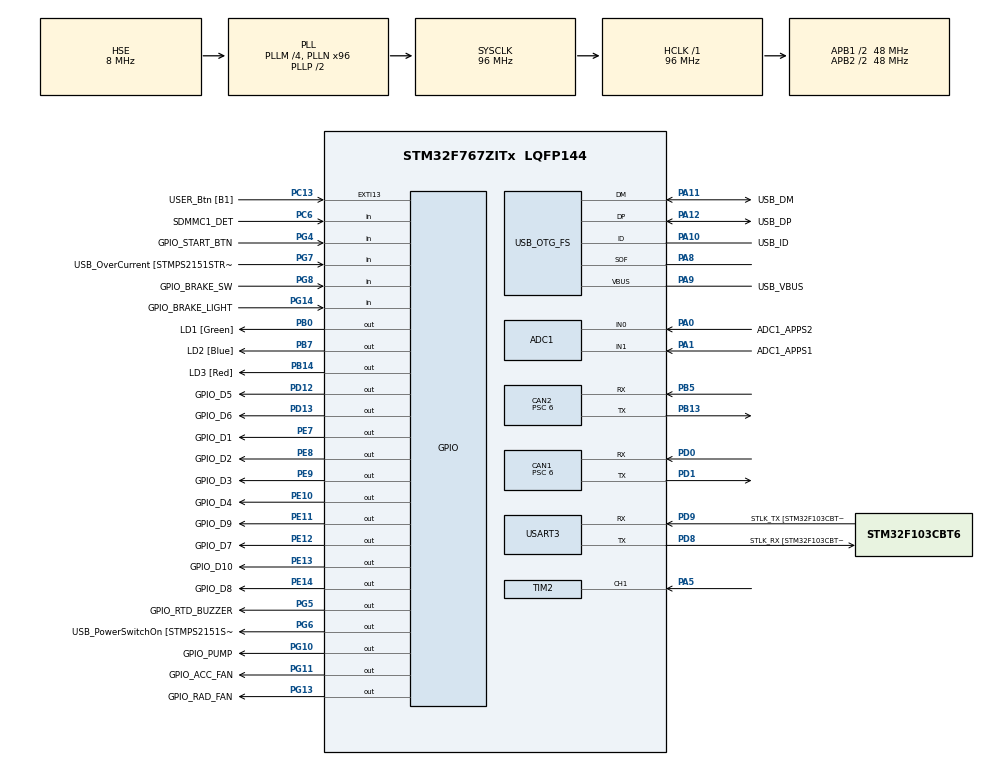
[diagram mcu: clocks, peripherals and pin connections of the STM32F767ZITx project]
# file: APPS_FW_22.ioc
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ADC1.Channel-4\#ChannelRegularConversion=ADC_CHANNEL_0
ADC1.Channel-5\#ChannelRegularConversion=ADC_CHANNEL_1
ADC1.ContinuousConvMode=ENABLE
ADC1.DMAContinuousRequests=ENABLE
ADC1.DiscontinuousConvMode=DISABLE
ADC1.EOCSelection=ADC_EOC_SEQ_CONV
ADC1.EnableAnalogWatchDog=false
ADC1.ExternalTrigConv=ADC_SOFTWARE_START
ADC1.InjNumberOfConversion=0
ADC1.NbrOfConversion=2
ADC1.NbrOfConversionFlag=1
ADC1.Rank-4\#ChannelRegularConversion=1
ADC1.Rank-5\#ChannelRegularConversion=2
ADC1.SamplingTime-4\#ChannelRegularConversion=ADC_SAMPLETIME_144CYCLES
ADC1.SamplingTime-5\#ChannelRegularConversion=ADC_SAMPLETIME_144CYCLES
ADC1.ScanConvMode=ADC_SCAN_ENABLE
ADC1.master=1
CAN1.BS1=CAN_BS1_13TQ
CAN1.BS2=CAN_BS2_2TQ
CAN1.CalculateBaudRate=500000
CAN1.CalculateTimeBit=2000
CAN1.CalculateTimeQuantum=125.0
CAN1.Mode=CAN_MODE_NORMAL
CAN1.Prescaler=6
CAN1.SJW=CAN_SJW_1TQ
CAN2.BS1=CAN_BS1_13TQ
CAN2.BS2=CAN_BS2_2TQ
CAN2.CalculateBaudRate=500000
CAN2.CalculateTimeBit=2000
CAN2.CalculateTimeQuantum=125.0
CAN2.Mode=CAN_MODE_NORMAL
CAN2.Prescaler=6
Dma.ADC1.0.Direction=DMA_PERIPH_TO_MEMORY
Dma.ADC1.0.FIFOMode=DMA_FIFOMODE_DISABLE
Dma.ADC1.0.Instance=DMA2_Stream0
Dma.ADC1.0.MemDataAlignment=DMA_MDATAALIGN_HALFWORD
Dma.ADC1.0.MemInc=DMA_MINC_ENABLE
Dma.ADC1.0.Mode=DMA_CIRCULAR
Dma.ADC1.0.PeriphDataAlignment=DMA_PDATAALIGN_HALFWORD
Dma.ADC1.0.PeriphInc=DMA_PINC_DISABLE
Dma.ADC1.0.Priority=DMA_PRIORITY_LOW
Dma.Request0=ADC1
FREERTOS.BinarySemaphores01=printSem,Static,printSemControlBlock
FREERTOS.Mutexes01=Ctrl_Data_Mtx,Static,Ctrl_Data_MtxControlBlock;APPS_Data_Mtx,Static,APPS_Data_MtxControlBlock;Torque_Map_Mtx,Static,Torque_Map_MtxControlBlock;Watchdog_Data_Mtx,Static,Watchdog_Data_MtxControlBlock
FREERTOS.Queues01=CANTX_Q,32,CANTXMsg,0,Static,CANTX_QBuffer,CANTX_QControlBlock;CANRX_Q,32,CANRXMsg,0,Static,CANRX_QBuffer,CANRX_QControlBlock
FREERTOS.Tasks01=defaultTask,24,128,StartDefaultTask,Default,NULL,Dynamic,NULL,NULL;CANTxTask,41,128,startCANTxTask,As external,NULL,Dynamic,NULL,NULL;APPSTask,32,256,startAPPSTask,As external,NULL,Dynamic,NULL,NULL;CANRxTask,40,128,startCANRxTask,As external,NULL,Dynamic,NULL,NULL;ControlTask,8,128,startControlTask,As external,NULL,Dynamic,NULL,NULL;watchdogTask,55,128,startWatchdogTask,As external,NULL,Dynamic,NULL,NULL
FREERTOS.configENABLE_BACKWARD_COMPATIBILITY=0
FREERTOS.configENABLE_FPU=1
FREERTOS.configUSE_NEWLIB_REENTRANT=1
Mcu.Family=STM32F7
Mcu.Name=STM32F767ZITx
Mcu.Package=LQFP144
NVIC.CAN1_RX0_IRQn=true\:5\:0\:false\:false\:true\:true\:true\:true\:true
NVIC.CAN2_RX0_IRQn=true\:5\:0\:false\:false\:true\:true\:true\:true\:true
NVIC.DMA2_Stream0_IRQn=true\:5\:0\:false\:false\:true\:true\:false\:true\:true
NVIC.PriorityGroup=NVIC_PRIORITYGROUP_4
NVIC.TIM1_UP_TIM10_IRQn=true\:15\:0\:false\:false\:true\:false\:false\:true\:true
NVIC.TIM2_IRQn=true\:5\:0\:false\:false\:true\:true\:true\:true\:true
NVIC.TimeBase=TIM1_UP_TIM10_IRQn
NVIC.TimeBaseIP=TIM1
PA0/WKUP.GPIO_Label=ADC1_APPS2
PA0/WKUP.Signal=ADCx_IN0
PA1.GPIO_Label=ADC1_APPS1
PA1.Signal=ADCx_IN1
PA10.GPIO_Label=USB_ID
PA10.Mode=OTG/Dual_Role_Device
PA10.Signal=USB_OTG_FS_ID
PA11.GPIO_Label=USB_DM
PA11.Mode=OTG/Dual_Role_Device
PA11.Signal=USB_OTG_FS_DM
PA12.GPIO_Label=USB_DP
PA12.Mode=OTG/Dual_Role_Device
PA12.Signal=USB_OTG_FS_DP
PA13.GPIO_Label=TMS
PA13.Mode=Serial_Wire
PA13.Signal=SYS_JTMS-SWDIO
PA14.GPIO_Label=TCK
PA14.Mode=Serial_Wire
PA14.Signal=SYS_JTCK-SWCLK
PA2.GPIO_Mode=GPIO_MODE_ANALOG
PA2.GPIO_PuPd=GPIO_NOPULL
PA2.Signal=ADCx_IN2
PA3.GPIO_Label=ADC3_AUX2
PA3.Signal=ADCx_IN3
PA5.Signal=S_TIM2_CH1_ETR
PA6.Signal=S_TIM3_CH1
PA8.Mode=Activate_SOF_FS
PA8.Signal=USB_OTG_FS_SOF
PA9.GPIO_Label=USB_VBUS
PA9.Mode=Activate_VBUS
PA9.Signal=USB_OTG_FS_VBUS
PB0.GPIO_Label=LD1 [Green]
PB0.Signal=GPIO_Output
PB13.Mode=CAN_Activate
PB13.Signal=CAN2_TX
PB14.GPIO_Label=LD3 [Red]
PB14.Signal=GPIO_Output
PB3.GPIO_Label=SWO
PB3.Signal=SYS_JTDO-SWO
PB5.GPIO_PuPd=GPIO_PULLUP
PB5.Mode=CAN_Activate
PB5.Signal=CAN2_RX
PB6.Signal=S_TIM4_CH1
PB7.GPIO_Label=LD2 [Blue]
PB7.Signal=GPIO_Output
PC0.GPIO_Mode=GPIO_MODE_ANALOG
PC0.GPIO_PuPd=GPIO_NOPULL
PC0.Signal=ADCx_IN10
PC1.GPIO_Label=ADC2_DMPR2
PC1.Signal=ADCx_IN11
PC13.GPIO_Label=USER_Btn [B1]
PC13.Signal=GPXTI13
PC14/OSC32_IN.Mode=LSE-External-Oscillator
PC14/OSC32_IN.Signal=RCC_OSC32_IN
PC15/OSC32_OUT.Mode=LSE-External-Oscillator
PC15/OSC32_OUT.Signal=RCC_OSC32_OUT
PC2.GPIO_Mode=GPIO_MODE_ANALOG
PC2.GPIO_PuPd=GPIO_NOPULL
PC2.Signal=ADCx_IN12
PC3.GPIO_Mode=GPIO_MODE_ANALOG
PC3.GPIO_PuPd=GPIO_NOPULL
PC3.Signal=ADCx_IN13
PC6.GPIO_Label=SDMMC1_DET
PC6.Signal=GPIO_Input
PD0.GPIO_PuPd=GPIO_PULLUP
PD0.Mode=CAN_Activate
PD0.Signal=CAN1_RX
PD1.Mode=CAN_Activate
PD1.Signal=CAN1_TX
PD12.GPIO_Label=GPIO_D5
PD12.Signal=GPIO_Output
PD13.GPIO_Label=GPIO_D6
PD13.Signal=GPIO_Output
PD8.GPIO_Label=STLK_RX [STM32F103CBT6_PA3]
PD8.Mode=Asynchronous
PD8.Signal=USART3_TX
PD9.GPIO_Label=STLK_TX [STM32F103CBT6_PA2]
PD9.Mode=Asynchronous
PD9.Signal=USART3_RX
PE10.GPIO_Label=GPIO_D4
PE10.Signal=GPIO_Output
PE11.GPIO_Label=GPIO_D9
PE11.Signal=GPIO_Output
PE12.GPIO_Label=GPIO_D7
PE12.Signal=GPIO_Output
PE13.GPIO_Label=GPIO_D10
PE13.Signal=GPIO_Output
PE14.GPIO_Label=GPIO_D8
PE14.Signal=GPIO_Output
PE7.GPIO_Label=GPIO_D1
PE7.Signal=GPIO_Output
PE8.GPIO_Label=GPIO_D2
PE8.Signal=GPIO_Output
PE9.GPIO_Label=GPIO_D3
PE9.Signal=GPIO_Output
PF4.GPIO_Label=ADC3_AUX4
PF4.Signal=ADC3_IN14
PF5.GPIO_Label=ADC3_AUX4
PF5.Signal=ADC3_IN15
PF6.GPIO_Label=ADC3_AUX5
PF6.Signal=ADC3_IN4
PF7.GPIO_Label=ADC3_AUX6
PF7.Signal=ADC3_IN5
PF8.GPIO_Label=ADC3_AUX7
PF8.Signal=ADC3_IN6
PF9.GPIO_Label=ADC3_AUX8
PF9.Signal=ADC3_IN7
PG10.GPIO_Label=GPIO_PUMP
PG10.Signal=GPIO_Output
PG11.GPIO_Label=GPIO_ACC_FAN
PG11.Signal=GPIO_Output
PG13.GPIO_Label=GPIO_RAD_FAN
PG13.Signal=GPIO_Output
PG14.GPIO_Label=GPIO_BRAKE_LIGHT
PG14.Signal=GPIO_Input
PG4.GPIO_Label=GPIO_START_BTN
PG4.Signal=GPIO_Input
PG5.GPIO_Label=GPIO_RTD_BUZZER
PG5.Signal=GPIO_Output
PG6.GPIO_Label=USB_PowerSwitchOn [STMPS2151STR_EN]
PG6.Signal=GPIO_Output
PG7.GPIO_Label=USB_OverCurrent [STMPS2151STR_FAULT]
PG7.Signal=GPIO_Input
PG8.GPIO_Label=GPIO_BRAKE_SW
PG8.Signal=GPIO_Input
PH0/OSC_IN.GPIO_Label=MCO [STM32F103CBT6_PA8]
PH0/OSC_IN.Mode=HSE-External-Oscillator
PH0/OSC_IN.Signal=RCC_OSC_IN
PH1/OSC_OUT.Mode=HSE-External-Oscillator
PH1/OSC_OUT.Signal=RCC_OSC_OUT
ProjectManager.HeapSize=0x200
ProjectManager.StackSize=0x400
ProjectManager.TargetToolchain=STM32CubeIDE
RCC.48MHZClocksFreq_Value=24000000
RCC.AHBFreq_Value=96000000
RCC.APB1CLKDivider=RCC_HCLK_DIV2
RCC.APB1Freq_Value=48000000
RCC.APB1TimFreq_Value=96000000
RCC.APB2CLKDivider=RCC_HCLK_DIV2
RCC.APB2Freq_Value=48000000
RCC.APB2TimFreq_Value=96000000
RCC.CortexFreq_Value=96000000
RCC.EnbaleCSS=true
RCC.HCLKFreq_Value=96000000
RCC.HSE_VALUE=8000000
RCC.HSI_VALUE=16000000
RCC.PLLM=4
RCC.PLLMUL=RCC_PLL_MUL9
RCC.PLLN=96
RCC.PLLQ=4
RCC.PRESCALERUSB=RCC_USBCLKSOURCE_PLL_DIV1_5
RCC.RTCClockSelection=RCC_RTCCLKSOURCE_LSE
RCC.SDMMCClockSelection=RCC_SDMMC1CLKSOURCE_CLK48
RCC.SYSCLKFreq_VALUE=96000000
RCC.SYSCLKSource=RCC_SYSCLKSOURCE_PLLCLK
RCC.SYSCLKSourceVirtual=RCC_SYSCLKSOURCE_PLLCLK
RCC.USBFreq_Value=48000000
RCC.VCOOutputFreq_Value=192000000
SH.ADCx_IN0.0=ADC1_IN0,IN0
SH.ADCx_IN1.0=ADC1_IN1,IN1
SH.ADCx_IN10.0=ADC2_IN10
SH.ADCx_IN11.0=ADC2_IN11
SH.ADCx_IN12.0=ADC2_IN12
SH.ADCx_IN13.0=ADC2_IN13
SH.ADCx_IN2.0=ADC3_IN2
SH.ADCx_IN2.1=ADC2_IN2
SH.ADCx_IN3.0=ADC3_IN3
SH.S_TIM2_CH1_ETR.0=TIM2_CH1,Input_Capture1_from_TI1
SH.S_TIM3_CH1.0=TIM3_CH1
SH.S_TIM4_CH1.0=TIM4_CH1
TIM2.Channel-Input_Capture1_from_TI1=TIM_CHANNEL_1
TIM2.Period=14184397
USART3.VirtualMode-Asynchronous=VM_ASYNC
VP_FREERTOS_VS_CMSIS_V2.Mode=CMSIS_V2
VP_RTC_VS_RTC_Activate.Mode=RTC_Enabled
VP_SYS_VS_tim1.Mode=TIM1
VP_TIM2_VS_ClockSourceINT.Mode=Internal
board=NUCLEO-F767ZI

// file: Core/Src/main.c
/* USER CODE BEGIN Header */
/**
  ******************************************************************************
  * @file           : main.c
  * @brief          : Main program body
  ******************************************************************************
  * @attention
  *
  * Copyright (c) 2022 STMicroelectronics.
  * All rights reserved.
  *
  * This software is licensed under terms that can be found in the LICENSE file
  * in the root directory of this software component.
  * If no LICENSE file comes with this software, it is provided AS-IS.
  *
  ******************************************************************************
  */
/* USER CODE END Header */
#include "main.h"
#include "cmsis_os.h"

/* USER CODE BEGIN Includes */
#include "APPS.h"
#include "CAN.h"
#include "utils.h"
#include "control.h"
/* USER CODE END Includes */

typedef StaticQueue_t osStaticMessageQDef_t;
typedef StaticSemaphore_t osStaticMutexDef_t;
typedef StaticSemaphore_t osStaticSemaphoreDef_t;

ADC_HandleTypeDef hadc1;
DMA_HandleTypeDef hdma_adc1;

CAN_HandleTypeDef hcan1;
CAN_HandleTypeDef hcan2;

RTC_HandleTypeDef hrtc;

TIM_HandleTypeDef htim2;

UART_HandleTypeDef huart3;

/* Definitions for defaultTask */
osThreadId_t defaultTaskHandle;
const osThreadAttr_t defaultTask_attributes = {
  .name = "defaultTask",
  .stack_size = 128 * 4,
  .priority = (osPriority_t) osPriorityNormal,
};
/* Definitions for CANTxTask */
osThreadId_t CANTxTaskHandle;
const osThreadAttr_t CANTxTask_attributes = {
  .name = "CANTxTask",
  .stack_size = 128 * 4,
  .priority = (osPriority_t) osPriorityHigh1,
};
/* Definitions for APPSTask */
osThreadId_t APPSTaskHandle;
const osThreadAttr_t APPSTask_attributes = {
  .name = "APPSTask",
  .stack_size = 256 * 4,
  .priority = (osPriority_t) osPriorityAboveNormal,
};
/* Definitions for CANRxTask */
osThreadId_t CANRxTaskHandle;
const osThreadAttr_t CANRxTask_attributes = {
  .name = "CANRxTask",
  .stack_size = 128 * 4,
  .priority = (osPriority_t) osPriorityHigh,
};
/* Definitions for ControlTask */
osThreadId_t ControlTaskHandle;
const osThreadAttr_t ControlTask_attributes = {
  .name = "ControlTask",
  .stack_size = 128 * 4,
  .priority = (osPriority_t) osPriorityLow,
};
/* Definitions for watchdogTask */
osThreadId_t watchdogTaskHandle;
const osThreadAttr_t watchdogTask_attributes = {
  .name = "watchdogTask",
  .stack_size = 128 * 4,
  .priority = (osPriority_t) osPriorityRealtime7,
};
/* Definitions for CANTX_Q */
osMessageQueueId_t CANTX_QHandle;
uint8_t CANTX_QBuffer[ 32 * sizeof( CANTXMsg ) ];
osStaticMessageQDef_t CANTX_QControlBlock;
const osMessageQueueAttr_t CANTX_Q_attributes = {
  .name = "CANTX_Q",
  .cb_mem = &CANTX_QControlBlock,
  .cb_size = sizeof(CANTX_QControlBlock),
  .mq_mem = &CANTX_QBuffer,
  .mq_size = sizeof(CANTX_QBuffer)
};
/* Definitions for CANRX_Q */
osMessageQueueId_t CANRX_QHandle;
uint8_t CANRX_QBuffer[ 32 * sizeof( CANRXMsg ) ];
osStaticMessageQDef_t CANRX_QControlBlock;
const osMessageQueueAttr_t CANRX_Q_attributes = {
  .name = "CANRX_Q",
  .cb_mem = &CANRX_QControlBlock,
  .cb_size = sizeof(CANRX_QControlBlock),
  .mq_mem = &CANRX_QBuffer,
  .mq_size = sizeof(CANRX_QBuffer)
};
/* Definitions for Ctrl_Data_Mtx */
osMutexId_t Ctrl_Data_MtxHandle;
osStaticMutexDef_t Ctrl_Data_MtxControlBlock;
const osMutexAttr_t Ctrl_Data_Mtx_attributes = {
  .name = "Ctrl_Data_Mtx",
  .cb_mem = &Ctrl_Data_MtxControlBlock,
  .cb_size = sizeof(Ctrl_Data_MtxControlBlock),
};
/* Definitions for APPS_Data_Mtx */
osMutexId_t APPS_Data_MtxHandle;
osStaticMutexDef_t APPS_Data_MtxControlBlock;
const osMutexAttr_t APPS_Data_Mtx_attributes = {
  .name = "APPS_Data_Mtx",
  .cb_mem = &APPS_Data_MtxControlBlock,
  .cb_size = sizeof(APPS_Data_MtxControlBlock),
};
/* Definitions for Torque_Map_Mtx */
osMutexId_t Torque_Map_MtxHandle;
osStaticMutexDef_t Torque_Map_MtxControlBlock;
const osMutexAttr_t Torque_Map_Mtx_attributes = {
  .name = "Torque_Map_Mtx",
  .cb_mem = &Torque_Map_MtxControlBlock,
  .cb_size = sizeof(Torque_Map_MtxControlBlock),
};
/* Definitions for Watchdog_Data_Mtx */
osMutexId_t Watchdog_Data_MtxHandle;
osStaticMutexDef_t Watchdog_Data_MtxControlBlock;
const osMutexAttr_t Watchdog_Data_Mtx_attributes = {
  .name = "Watchdog_Data_Mtx",
  .cb_mem = &Watchdog_Data_MtxControlBlock,
  .cb_size = sizeof(Watchdog_Data_MtxControlBlock),
};
/* Definitions for printSem */
osSemaphoreId_t printSemHandle;
osStaticSemaphoreDef_t printSemControlBlock;
const osSemaphoreAttr_t printSem_attributes = {
  .name = "printSem",
  .cb_mem = &printSemControlBlock,
  .cb_size = sizeof(printSemControlBlock),
};

void SystemClock_Config(void);
static void MX_GPIO_Init(void);
static void MX_DMA_Init(void);
static void MX_USB_OTG_FS_USB_Init(void);
static void MX_CAN1_Init(void);
static void MX_CAN2_Init(void);
static void MX_ADC1_Init(void);
static void MX_RTC_Init(void);
static void MX_USART3_UART_Init(void);
static void MX_TIM2_Init(void);
void StartDefaultTask(void *argument);
extern void startCANTxTask(void *argument);
extern void startAPPSTask(void *argument);
extern void startCANRxTask(void *argument);
extern void startControlTask(void *argument);
extern void startWatchdogTask(void *argument);

int main(void)
{

  /* MCU Configuration--------------------------------------------------------*/

  /* Reset of all peripherals, Initializes the Flash interface and the Systick. */
  HAL_Init();

  /* Configure the system clock */
  SystemClock_Config();

  /* USER CODE BEGIN SysInit */
  HAL_Init();
  /* USER CODE END SysInit */

  /* Initialize all configured peripherals */
  MX_GPIO_Init();
  MX_DMA_Init();
  MX_USB_OTG_FS_USB_Init();
  MX_CAN1_Init();
  MX_CAN2_Init();
  MX_ADC1_Init();
  MX_RTC_Init();
  MX_USART3_UART_Init();
  MX_TIM2_Init();
  /* USER CODE BEGIN 2 */
  I2C_HandleTypeDef hi2c1;
  hi2c1.Instance = I2C1;
  vicorInit(&hi2c1);

  configureVICORDevice(&hi2c1);
  performVICOROperations(&hi2c1);
  /* USER CODE END 2 */

  /* Init scheduler */
  osKernelInitialize();
  /* Create the mutex(es) */
  /* creation of Ctrl_Data_Mtx */
  Ctrl_Data_MtxHandle = osMutexNew(&Ctrl_Data_Mtx_attributes);

  /* creation of APPS_Data_Mtx */
  APPS_Data_MtxHandle = osMutexNew(&APPS_Data_Mtx_attributes);

  /* creation of Torque_Map_Mtx */
  Torque_Map_MtxHandle = osMutexNew(&Torque_Map_Mtx_attributes);

  /* creation of Watchdog_Data_Mtx */
  Watchdog_Data_MtxHandle = osMutexNew(&Watchdog_Data_Mtx_attributes);

  /* Create the semaphores(s) */
  /* creation of printSem */
  printSemHandle = osSemaphoreNew(1, 0, &printSem_attributes);

  /* Create the queue(s) */
  /* creation of CANTX_Q */
  CANTX_QHandle = osMessageQueueNew (32, sizeof(CANTXMsg), &CANTX_Q_attributes);

  /* creation of CANRX_Q */
  CANRX_QHandle = osMessageQueueNew (32, sizeof(CANRXMsg), &CANRX_Q_attributes);

  /* Create the thread(s) */
  /* creation of defaultTask */
  defaultTaskHandle = osThreadNew(StartDefaultTask, NULL, &defaultTask_attributes);

  /* creation of CANTxTask */
  CANTxTaskHandle = osThreadNew(startCANTxTask, NULL, &CANTxTask_attributes);

  /* creation of APPSTask */
  APPSTaskHandle = osThreadNew(startAPPSTask, NULL, &APPSTask_attributes);

  /* creation of CANRxTask */
  CANRxTaskHandle = osThreadNew(startCANRxTask, NULL, &CANRxTask_attributes);

  /* creation of ControlTask */
  ControlTaskHandle = osThreadNew(startControlTask, NULL, &ControlTask_attributes);

  /* creation of watchdogTask */
  watchdogTaskHandle = osThreadNew(startWatchdogTask, NULL, &watchdogTask_attributes);

  /* Start scheduler */
  osKernelStart();

  /* We should never get here as control is now taken by the scheduler */
  /* Infinite loop */
  while (1)
  {

  }
}

void SystemClock_Config(void)
{
  RCC_OscInitTypeDef RCC_OscInitStruct = {0};
  RCC_ClkInitTypeDef RCC_ClkInitStruct = {0};

  /** Configure LSE Drive Capability
  */
  HAL_PWR_EnableBkUpAccess();
  __HAL_RCC_LSEDRIVE_CONFIG(RCC_LSEDRIVE_LOW);

  /** Configure the main internal regulator output voltage
  */
  __HAL_RCC_PWR_CLK_ENABLE();
  __HAL_PWR_VOLTAGESCALING_CONFIG(PWR_REGULATOR_VOLTAGE_SCALE3);

  /** Initializes the RCC Oscillators according to the specified parameters
  * in the RCC_OscInitTypeDef structure.
  */
  RCC_OscInitStruct.OscillatorType = RCC_OSCILLATORTYPE_HSE|RCC_OSCILLATORTYPE_LSE;
  RCC_OscInitStruct.HSEState = RCC_HSE_ON;
  RCC_OscInitStruct.LSEState = RCC_LSE_ON;
  RCC_OscInitStruct.PLL.PLLState = RCC_PLL_ON;
  RCC_OscInitStruct.PLL.PLLSource = RCC_PLLSOURCE_HSE;
  RCC_OscInitStruct.PLL.PLLM = 4;
  RCC_OscInitStruct.PLL.PLLN = 96;
  RCC_OscInitStruct.PLL.PLLP = RCC_PLLP_DIV2;
  RCC_OscInitStruct.PLL.PLLQ = 4;
  RCC_OscInitStruct.PLL.PLLR = 2;
  if (HAL_RCC_OscConfig(&RCC_OscInitStruct) != HAL_OK)
  {
    Error_Handler();
  }

  /** Activate the Over-Drive mode
  */
  if (HAL_PWREx_EnableOverDrive() != HAL_OK)
  {
    Error_Handler();
  }

  /** Initializes the CPU, AHB and APB buses clocks
  */
  RCC_ClkInitStruct.ClockType = RCC_CLOCKTYPE_HCLK|RCC_CLOCKTYPE_SYSCLK
                              |RCC_CLOCKTYPE_PCLK1|RCC_CLOCKTYPE_PCLK2;
  RCC_ClkInitStruct.SYSCLKSource = RCC_SYSCLKSOURCE_PLLCLK;
  RCC_ClkInitStruct.AHBCLKDivider = RCC_SYSCLK_DIV1;
  RCC_ClkInitStruct.APB1CLKDivider = RCC_HCLK_DIV2;
  RCC_ClkInitStruct.APB2CLKDivider = RCC_HCLK_DIV2;

  if (HAL_RCC_ClockConfig(&RCC_ClkInitStruct, FLASH_LATENCY_3) != HAL_OK)
  {
    Error_Handler();
  }

  /** Enables the Clock Security System
  */
  HAL_RCC_EnableCSS();
}

static void MX_ADC1_Init(void)
{

  ADC_ChannelConfTypeDef sConfig = {0};

  /** Configure the global features of the ADC (Clock, Resolution, Data Alignment and number of conversion)
  */
  hadc1.Instance = ADC1;
  hadc1.Init.ClockPrescaler = ADC_CLOCK_SYNC_PCLK_DIV2;
  hadc1.Init.Resolution = ADC_RESOLUTION_12B;
  hadc1.Init.ScanConvMode = ADC_SCAN_ENABLE;
  hadc1.Init.ContinuousConvMode = ENABLE;
  hadc1.Init.DiscontinuousConvMode = DISABLE;
  hadc1.Init.ExternalTrigConvEdge = ADC_EXTERNALTRIGCONVEDGE_NONE;
  hadc1.Init.ExternalTrigConv = ADC_SOFTWARE_START;
  hadc1.Init.DataAlign = ADC_DATAALIGN_RIGHT;
  hadc1.Init.NbrOfConversion = 2;
  hadc1.Init.DMAContinuousRequests = ENABLE;
  hadc1.Init.EOCSelection = ADC_EOC_SEQ_CONV;
  if (HAL_ADC_Init(&hadc1) != HAL_OK)
  {
    Error_Handler();
  }

  /** Configure for the selected ADC regular channel its corresponding rank in the sequencer and its sample time.
  */
  sConfig.Channel = ADC_CHANNEL_0;
  sConfig.Rank = ADC_REGULAR_RANK_1;
  sConfig.SamplingTime = ADC_SAMPLETIME_144CYCLES;
  if (HAL_ADC_ConfigChannel(&hadc1, &sConfig) != HAL_OK)
  {
    Error_Handler();
  }

  /** Configure for the selected ADC regular channel its corresponding rank in the sequencer and its sample time.
  */
  sConfig.Channel = ADC_CHANNEL_1;
  sConfig.Rank = ADC_REGULAR_RANK_2;
  if (HAL_ADC_ConfigChannel(&hadc1, &sConfig) != HAL_OK)
  {
    Error_Handler();
  }
  /* USER CODE BEGIN ADC1_Init 2 */
  if(HAL_ADC_Start_DMA(&hadc1, (uint32_t *)ADC1_buff, ADC1_BUFF_LEN) != HAL_OK){
	Error_Handler();
  }
  /* USER CODE END ADC1_Init 2 */

}

static void MX_CAN1_Init(void)
{

  hcan1.Instance = CAN1;
  hcan1.Init.Prescaler = 6;
  hcan1.Init.Mode = CAN_MODE_NORMAL;
  hcan1.Init.SyncJumpWidth = CAN_SJW_1TQ;
  hcan1.Init.TimeSeg1 = CAN_BS1_13TQ;
  hcan1.Init.TimeSeg2 = CAN_BS2_2TQ;
  hcan1.Init.TimeTriggeredMode = DISABLE;
  hcan1.Init.AutoBusOff = DISABLE;
  hcan1.Init.AutoWakeUp = DISABLE;
  hcan1.Init.AutoRetransmission = DISABLE;
  hcan1.Init.ReceiveFifoLocked = DISABLE;
  hcan1.Init.TransmitFifoPriority = DISABLE;
  if (HAL_CAN_Init(&hcan1) != HAL_OK)
  {
    Error_Handler();
  }

}

static void MX_CAN2_Init(void)
{

  hcan2.Instance = CAN2;
  hcan2.Init.Prescaler = 6;
  hcan2.Init.Mode = CAN_MODE_NORMAL;
  hcan2.Init.SyncJumpWidth = CAN_SJW_1TQ;
  hcan2.Init.TimeSeg1 = CAN_BS1_13TQ;
  hcan2.Init.TimeSeg2 = CAN_BS2_2TQ;
  hcan2.Init.TimeTriggeredMode = DISABLE;
  hcan2.Init.AutoBusOff = DISABLE;
  hcan2.Init.AutoWakeUp = DISABLE;
  hcan2.Init.AutoRetransmission = DISABLE;
  hcan2.Init.ReceiveFifoLocked = DISABLE;
  hcan2.Init.TransmitFifoPriority = DISABLE;
  if (HAL_CAN_Init(&hcan2) != HAL_OK)
  {
    Error_Handler();
  }
  /* USER CODE BEGIN CAN2_Init 2 */

  // Set up and configure CAN2 filter
  CAN_FilterTypeDef canfilterconfig;
  canfilterconfig.FilterActivation = CAN_FILTER_ENABLE;
  canfilterconfig.FilterBank = 10;  // anything between 0 to SlaveStartFilterBank
  canfilterconfig.FilterFIFOAssignment = CAN_RX_FIFO0;
  canfilterconfig.FilterIdHigh = 0x0000;
  canfilterconfig.FilterIdLow = 0x0000;
  canfilterconfig.FilterMaskIdHigh = 0x0000;
  canfilterconfig.FilterMaskIdLow = 0x0000;
  canfilterconfig.FilterMode = CAN_FILTERMODE_IDMASK;
  canfilterconfig.FilterScale = CAN_FILTERSCALE_32BIT;
  canfilterconfig.SlaveStartFilterBank = 0;  // 13 to 27 are assigned to slave CAN (CAN 2) OR 0 to 12 are assgned to CAN1
  HAL_CAN_ConfigFilter(&hcan2, &canfilterconfig);

  // Activate Notifications and start up CAN interface...
  HAL_CAN_Start(&hcan2);
  HAL_CAN_ActivateNotification(&hcan2, CAN_IT_RX_FIFO0_MSG_PENDING);

  /* USER CODE END CAN2_Init 2 */

}

static void MX_RTC_Init(void)
{

  /** Initialize RTC Only
  */
  hrtc.Instance = RTC;
  hrtc.Init.HourFormat = RTC_HOURFORMAT_24;
  hrtc.Init.AsynchPrediv = 127;
  hrtc.Init.SynchPrediv = 255;
  hrtc.Init.OutPut = RTC_OUTPUT_DISABLE;
  hrtc.Init.OutPutPolarity = RTC_OUTPUT_POLARITY_HIGH;
  hrtc.Init.OutPutType = RTC_OUTPUT_TYPE_OPENDRAIN;
  if (HAL_RTC_Init(&hrtc) != HAL_OK)
  {
    Error_Handler();
  }

}

static void MX_TIM2_Init(void)
{

  TIM_ClockConfigTypeDef sClockSourceConfig = {0};
  TIM_MasterConfigTypeDef sMasterConfig = {0};
  TIM_IC_InitTypeDef sConfigIC = {0};

  htim2.Instance = TIM2;
  htim2.Init.Prescaler = 0;
  htim2.Init.CounterMode = TIM_COUNTERMODE_UP;
  htim2.Init.Period = 14184397;
  htim2.Init.ClockDivision = TIM_CLOCKDIVISION_DIV1;
  htim2.Init.AutoReloadPreload = TIM_AUTORELOAD_PRELOAD_DISABLE;
  if (HAL_TIM_Base_Init(&htim2) != HAL_OK)
  {
    Error_Handler();
  }
  sClockSourceConfig.ClockSource = TIM_CLOCKSOURCE_INTERNAL;
  if (HAL_TIM_ConfigClockSource(&htim2, &sClockSourceConfig) != HAL_OK)
  {
    Error_Handler();
  }
  if (HAL_TIM_IC_Init(&htim2) != HAL_OK)
  {
    Error_Handler();
  }
  sMasterConfig.MasterOutputTrigger = TIM_TRGO_RESET;
  sMasterConfig.MasterSlaveMode = TIM_MASTERSLAVEMODE_DISABLE;
  if (HAL_TIMEx_MasterConfigSynchronization(&htim2, &sMasterConfig) != HAL_OK)
  {
    Error_Handler();
  }
  sConfigIC.ICPolarity = TIM_INPUTCHANNELPOLARITY_RISING;
  sConfigIC.ICSelection = TIM_ICSELECTION_DIRECTTI;
  sConfigIC.ICPrescaler = TIM_ICPSC_DIV1;
  sConfigIC.ICFilter = 0;
  if (HAL_TIM_IC_ConfigChannel(&htim2, &sConfigIC, TIM_CHANNEL_1) != HAL_OK)
  {
    Error_Handler();
  }
  /* USER CODE BEGIN TIM2_Init 2 */

  HAL_TIM_Base_Start_IT(&htim2);
  HAL_TIM_IC_Start_IT(&htim2, TIM_CHANNEL_1);
  /* USER CODE END TIM2_Init 2 */

}

static void MX_USART3_UART_Init(void)
{

  huart3.Instance = USART3;
  huart3.Init.BaudRate = 115200;
  huart3.Init.WordLength = UART_WORDLENGTH_8B;
  huart3.Init.StopBits = UART_STOPBITS_1;
  huart3.Init.Parity = UART_PARITY_NONE;
  huart3.Init.Mode = UART_MODE_TX_RX;
  huart3.Init.HwFlowCtl = UART_HWCONTROL_NONE;
  huart3.Init.OverSampling = UART_OVERSAMPLING_16;
  huart3.Init.OneBitSampling = UART_ONE_BIT_SAMPLE_DISABLE;
  huart3.AdvancedInit.AdvFeatureInit = UART_ADVFEATURE_NO_INIT;
  if (HAL_UART_Init(&huart3) != HAL_OK)
  {
    Error_Handler();
  }

}

static void MX_USB_OTG_FS_USB_Init(void)
{

}

static void MX_DMA_Init(void)
{

  /* DMA controller clock enable */
  __HAL_RCC_DMA2_CLK_ENABLE();

  /* DMA interrupt init */
  /* DMA2_Stream0_IRQn interrupt configuration */
  HAL_NVIC_SetPriority(DMA2_Stream0_IRQn, 5, 0);
  HAL_NVIC_EnableIRQ(DMA2_Stream0_IRQn);

}

static void MX_GPIO_Init(void)
{
  GPIO_InitTypeDef GPIO_InitStruct = {0};

  /* GPIO Ports Clock Enable */
  __HAL_RCC_GPIOC_CLK_ENABLE();
  __HAL_RCC_GPIOF_CLK_ENABLE();
  __HAL_RCC_GPIOH_CLK_ENABLE();
  __HAL_RCC_GPIOA_CLK_ENABLE();
  __HAL_RCC_GPIOB_CLK_ENABLE();
  __HAL_RCC_GPIOE_CLK_ENABLE();
  __HAL_RCC_GPIOD_CLK_ENABLE();
  __HAL_RCC_GPIOG_CLK_ENABLE();

  /*Configure GPIO pin Output Level */
  HAL_GPIO_WritePin(GPIOB, LD1_Pin|LD3_Pin|LD2_Pin, GPIO_PIN_RESET);

  /*Configure GPIO pin Output Level */
  HAL_GPIO_WritePin(GPIOE, GPIO_D1_Pin|GPIO_D2_Pin|GPIO_D3_Pin|GPIO_D4_Pin
                          |GPIO_D9_Pin|GPIO_D7_Pin|GPIO_D10_Pin|GPIO_D8_Pin, GPIO_PIN_RESET);

  /*Configure GPIO pin Output Level */
  HAL_GPIO_WritePin(GPIOD, GPIO_D5_Pin|GPIO_D6_Pin, GPIO_PIN_RESET);

  /*Configure GPIO pin Output Level */
  HAL_GPIO_WritePin(GPIOG, GPIO_RTD_BUZZER_Pin|USB_PowerSwitchOn_Pin|GPIO_PUMP_Pin|GPIO_ACC_FAN_Pin
                          |GPIO_RAD_FAN_Pin, GPIO_PIN_RESET);

  /*Configure GPIO pin : USER_Btn_Pin */
  GPIO_InitStruct.Pin = USER_Btn_Pin;
  GPIO_InitStruct.Mode = GPIO_MODE_IT_RISING;
  GPIO_InitStruct.Pull = GPIO_NOPULL;
  HAL_GPIO_Init(USER_Btn_GPIO_Port, &GPIO_InitStruct);

  /*Configure GPIO pins : ADC3_AUX4_Pin ADC3_AUX4F5_Pin ADC3_AUX5_Pin ADC3_AUX6_Pin
                           ADC3_AUX7_Pin ADC3_AUX8_Pin */
  GPIO_InitStruct.Pin = ADC3_AUX4_Pin|ADC3_AUX4F5_Pin|ADC3_AUX5_Pin|ADC3_AUX6_Pin
                          |ADC3_AUX7_Pin|ADC3_AUX8_Pin;
  GPIO_InitStruct.Mode = GPIO_MODE_ANALOG;
  GPIO_InitStruct.Pull = GPIO_NOPULL;
  HAL_GPIO_Init(GPIOF, &GPIO_InitStruct);

  /*Configure GPIO pins : PC0 ADC2_DMPR2_Pin PC2 PC3 */
  GPIO_InitStruct.Pin = GPIO_PIN_0|ADC2_DMPR2_Pin|GPIO_PIN_2|GPIO_PIN_3;
  GPIO_InitStruct.Mode = GPIO_MODE_ANALOG;
  GPIO_InitStruct.Pull = GPIO_NOPULL;
  HAL_GPIO_Init(GPIOC, &GPIO_InitStruct);

  /*Configure GPIO pins : PA2 ADC3_AUX2_Pin */
  GPIO_InitStruct.Pin = GPIO_PIN_2|ADC3_AUX2_Pin;
  GPIO_InitStruct.Mode = GPIO_MODE_ANALOG;
  GPIO_InitStruct.Pull = GPIO_NOPULL;
  HAL_GPIO_Init(GPIOA, &GPIO_InitStruct);

  /*Configure GPIO pin : PA6 */
  GPIO_InitStruct.Pin = GPIO_PIN_6;
  GPIO_InitStruct.Mode = GPIO_MODE_AF_PP;
  GPIO_InitStruct.Pull = GPIO_NOPULL;
  GPIO_InitStruct.Speed = GPIO_SPEED_FREQ_LOW;
  GPIO_InitStruct.Alternate = GPIO_AF2_TIM3;
  HAL_GPIO_Init(GPIOA, &GPIO_InitStruct);

  /*Configure GPIO pins : LD1_Pin LD3_Pin LD2_Pin */
  GPIO_InitStruct.Pin = LD1_Pin|LD3_Pin|LD2_Pin;
  GPIO_InitStruct.Mode = GPIO_MODE_OUTPUT_PP;
  GPIO_InitStruct.Pull = GPIO_NOPULL;
  GPIO_InitStruct.Speed = GPIO_SPEED_FREQ_LOW;
  HAL_GPIO_Init(GPIOB, &GPIO_InitStruct);

  /*Configure GPIO pins : GPIO_D1_Pin GPIO_D2_Pin GPIO_D3_Pin GPIO_D4_Pin
                           GPIO_D9_Pin GPIO_D7_Pin GPIO_D10_Pin GPIO_D8_Pin */
  GPIO_InitStruct.Pin = GPIO_D1_Pin|GPIO_D2_Pin|GPIO_D3_Pin|GPIO_D4_Pin
                          |GPIO_D9_Pin|GPIO_D7_Pin|GPIO_D10_Pin|GPIO_D8_Pin;
  GPIO_InitStruct.Mode = GPIO_MODE_OUTPUT_PP;
  GPIO_InitStruct.Pull = GPIO_NOPULL;
  GPIO_InitStruct.Speed = GPIO_SPEED_FREQ_LOW;
  HAL_GPIO_Init(GPIOE, &GPIO_InitStruct);

  /*Configure GPIO pins : GPIO_D5_Pin GPIO_D6_Pin */
  GPIO_InitStruct.Pin = GPIO_D5_Pin|GPIO_D6_Pin;
  GPIO_InitStruct.Mode = GPIO_MODE_OUTPUT_PP;
  GPIO_InitStruct.Pull = GPIO_NOPULL;
  GPIO_InitStruct.Speed = GPIO_SPEED_FREQ_LOW;
  HAL_GPIO_Init(GPIOD, &GPIO_InitStruct);

  /*Configure GPIO pins : GPIO_START_BTN_Pin USB_OverCurrent_Pin GPIO_BRAKE_SW_Pin GPIO_BRAKE_LIGHT_Pin */
  GPIO_InitStruct.Pin = GPIO_START_BTN_Pin|USB_OverCurrent_Pin|GPIO_BRAKE_SW_Pin|GPIO_BRAKE_LIGHT_Pin;
  GPIO_InitStruct.Mode = GPIO_MODE_INPUT;
  GPIO_InitStruct.Pull = GPIO_NOPULL;
  HAL_GPIO_Init(GPIOG, &GPIO_InitStruct);

  /*Configure GPIO pins : GPIO_RTD_BUZZER_Pin USB_PowerSwitchOn_Pin GPIO_PUMP_Pin GPIO_ACC_FAN_Pin
                           GPIO_RAD_FAN_Pin */
  GPIO_InitStruct.Pin = GPIO_RTD_BUZZER_Pin|USB_PowerSwitchOn_Pin|GPIO_PUMP_Pin|GPIO_ACC_FAN_Pin
                          |GPIO_RAD_FAN_Pin;
  GPIO_InitStruct.Mode = GPIO_MODE_OUTPUT_PP;
  GPIO_InitStruct.Pull = GPIO_NOPULL;
  GPIO_InitStruct.Speed = GPIO_SPEED_FREQ_LOW;
  HAL_GPIO_Init(GPIOG, &GPIO_InitStruct);

  /*Configure GPIO pin : SDMMC1_DET_Pin */
  GPIO_InitStruct.Pin = SDMMC1_DET_Pin;
  GPIO_InitStruct.Mode = GPIO_MODE_INPUT;
  GPIO_InitStruct.Pull = GPIO_NOPULL;
  HAL_GPIO_Init(SDMMC1_DET_GPIO_Port, &GPIO_InitStruct);

  /*Configure GPIO pins : PA8 USB_ID_Pin USB_DM_Pin USB_DP_Pin */
  GPIO_InitStruct.Pin = GPIO_PIN_8|USB_ID_Pin|USB_DM_Pin|USB_DP_Pin;
  GPIO_InitStruct.Mode = GPIO_MODE_AF_PP;
  GPIO_InitStruct.Pull = GPIO_NOPULL;
  GPIO_InitStruct.Speed = GPIO_SPEED_FREQ_VERY_HIGH;
  GPIO_InitStruct.Alternate = GPIO_AF10_OTG_FS;
  HAL_GPIO_Init(GPIOA, &GPIO_InitStruct);

  /*Configure GPIO pin : USB_VBUS_Pin */
  GPIO_InitStruct.Pin = USB_VBUS_Pin;
  GPIO_InitStruct.Mode = GPIO_MODE_INPUT;
  GPIO_InitStruct.Pull = GPIO_NOPULL;
  HAL_GPIO_Init(USB_VBUS_GPIO_Port, &GPIO_InitStruct);

  /*Configure GPIO pin : PB6 */
  GPIO_InitStruct.Pin = GPIO_PIN_6;
  GPIO_InitStruct.Mode = GPIO_MODE_AF_PP;
  GPIO_InitStruct.Pull = GPIO_NOPULL;
  GPIO_InitStruct.Speed = GPIO_SPEED_FREQ_LOW;
  GPIO_InitStruct.Alternate = GPIO_AF2_TIM4;
  HAL_GPIO_Init(GPIOB, &GPIO_InitStruct);

}

void StartDefaultTask(void *argument)
{
  for(;;)
  {
    osDelay(1);
  }
}

/*void HAL_TIM_PeriodElapsedCallback(TIM_HandleTypeDef *htim)
{*/
 /* if (htim->Instance == TIM1) {
    HAL_IncTick();
  }
}*/

void Error_Handler(void)
{
  __disable_irq();
  while (1)
  {
  }
}
